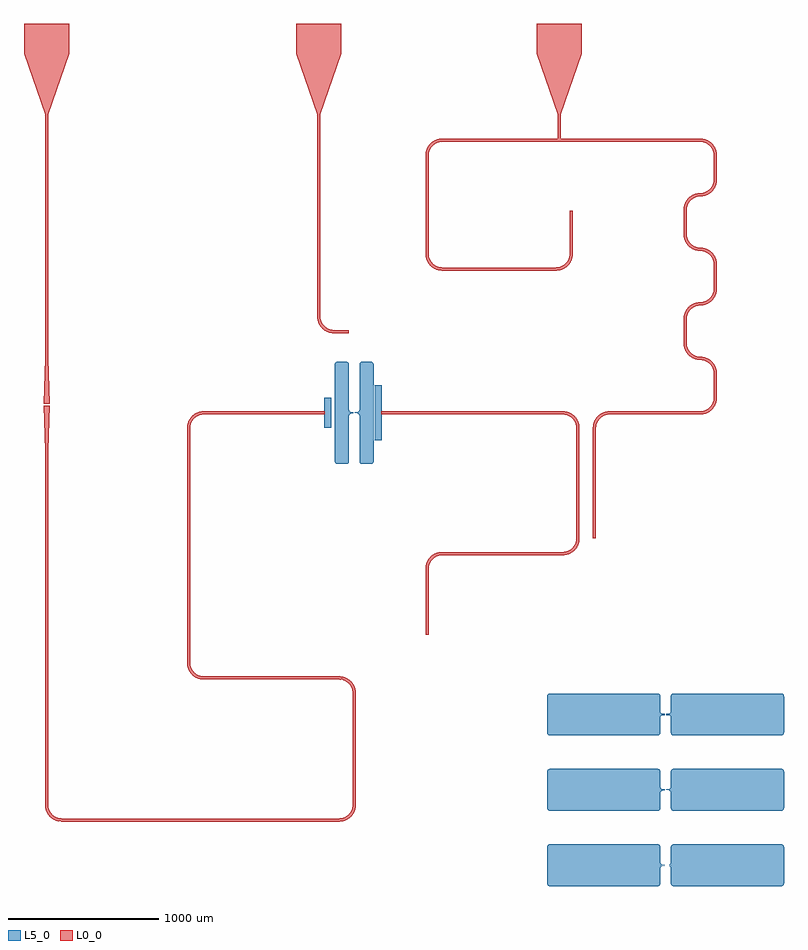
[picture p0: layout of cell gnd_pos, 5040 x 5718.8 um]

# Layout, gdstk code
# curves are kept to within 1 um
import gdstk
lib = gdstk.Library(unit=1e-6, precision=1e-09)
def R(c, l, rs):  # rectangles x0, y0, x1, y1
    for r in rs: c.add(gdstk.rectangle(r[:2], r[2:], *l))
def A(c, l, x, y, w, h, nx, ny, dx, dy):  # array of equal rectangles
    R(c, l, [(x+i*dx, y+j*dy, x+i*dx+w, y+j*dy+h) for i in range(nx) for j in range(ny)])
def P(c, l, *ps):  # polygons
    for p in ps: c.add(gdstk.Polygon(p, *l))
L0_0 = (0, 0)
L5_0 = (5, 0)

gnd_pos = lib.new_cell('gnd_pos')
A(gnd_pos, L0_0, 6119.612, 3600, 20, 161.6, 1, 3, 0, 723.2)
R(gnd_pos, L0_0, [(1795,790,3635,810), (1685,900,1705,3248.102), (3725,900,3745,1641.9), (2736.9,1731.9,3635,1751.9), (2626.9,1841.9,2646.9,3400), (4208.1,2027.239,4228.1,2051.239), (4208.1,2051.239,4228.1,2467), (4318.1,2557,5118.1,2577), (5208.1,2667,5228.1,3400), (5318.1,2667,5338.1,3400), (2736.9,3490,3539.9,3510), (3915.1,3490,5118.1,3510), (5428.1,3490,6029.612,3510), (1685,3861.102,1705,5308), (5919.612,3961.6,5939.612,4123.2), (3600,4028.8,3700,4048.8), (3490,4138.8,3510,5480), (4318.1,4444,5073.856,4464), (4208.1,4554,4228.1,5208), (5163.856,4554,5183.856,4841.105), (5919.612,4684.8,5939.612,4846.4), (4318.1,5298,5095,5318), (5095,5298,6029.612,5318), (1685,5308,1705,5480), (5085,5308,5105,5480), (1545,5880,1845,6080), (3350,5880,3650,6080), (4945,5880,5245,6080)])
P(gnd_pos, L0_0, [(3650,5880),(3350,5880),(3490,5480),(3510,5480)],
  [(3490,4138.8),(3491.971,4118.071),(3497.813,4098.085),(3508.954,4077.069),(3522.218,4061.018),(3538.269,4047.754),(3559.285,4036.613),(3579.271,4030.771),(3600,4028.8),(3600,4048.8),(3585.44,4049.986),(3571.263,4053.511),(3557.843,4059.284),(3543.614,4068.653),(3529.853,4082.414),(3519.371,4098.812),(3512.66,4117.08),(3510,4138.8)],
  [(2736.9,3510),(2716.171,3508.029),(2696.185,3502.187),(2675.169,3491.046),(2659.118,3477.782),(2645.854,3461.731),(2634.713,3440.715),(2628.871,3420.729),(2626.9,3400),(2646.9,3400),(2648.086,3414.56),(2651.611,3428.737),(2657.384,3442.157),(2666.753,3456.386),(2680.514,3470.147),(2696.912,3480.629),(2715.18,3487.34),(2736.9,3490)],
  [(2626.9,1841.9),(2628.871,1821.171),(2634.713,1801.185),(2645.854,1780.169),(2659.118,1764.118),(2675.169,1750.854),(2696.185,1739.713),(2716.171,1733.871),(2736.9,1731.9),(2736.9,1751.9),(2722.34,1753.086),(2708.163,1756.611),(2694.743,1762.384),(2680.514,1771.753),(2666.753,1785.514),(2656.271,1801.912),(2649.56,1820.18),(2646.9,1841.9)],
  [(3635,1751.9),(3655.729,1749.929),(3675.715,1744.087),(3696.731,1732.946),(3712.782,1719.682),(3726.046,1703.631),(3737.187,1682.615),(3743.029,1662.629),(3745,1641.9),(3725,1641.9),(3723.814,1656.46),(3720.289,1670.637),(3714.516,1684.057),(3705.147,1698.286),(3691.386,1712.047),(3674.988,1722.529),(3656.72,1729.24),(3635,1731.9)],
  [(3745,900),(3743.029,879.271),(3737.187,859.285),(3726.046,838.269),(3712.782,822.218),(3696.731,808.954),(3675.715,797.813),(3655.729,791.971),(3635,790),(3635,810),(3649.56,811.186),(3663.737,814.711),(3677.157,820.484),(3691.386,829.853),(3705.147,843.614),(3715.629,860.012),(3722.34,878.28),(3725,900)],
  [(1795,790),(1774.271,791.971),(1754.285,797.813),(1733.269,808.954),(1717.218,822.218),(1703.954,838.269),(1692.813,859.285),(1686.971,879.271),(1685,900),(1705,900),(1706.186,885.44),(1709.711,871.263),(1715.484,857.843),(1724.853,843.614),(1738.614,829.853),(1755.012,819.371),(1773.28,812.66),(1795,810)],
  [(1685,3248.102),(1705,3248.102),(1715,3548.102),(1675,3548.102)],
  [(1845,5880),(1545,5880),(1685,5480),(1705,5480)],
  [(1705,3861.102),(1685,3861.102),(1675,3561.102),(1715,3561.102)],
  [(5118.1,3510),(5138.829,3508.029),(5158.815,3502.187),(5179.831,3491.046),(5195.882,3477.782),(5209.146,3461.731),(5220.287,3440.715),(5226.129,3420.729),(5228.1,3400),(5208.1,3400),(5206.914,3414.56),(5203.389,3428.737),(5197.616,3442.157),(5188.247,3456.386),(5174.486,3470.147),(5158.088,3480.629),(5139.82,3487.34),(5118.1,3490)],
  [(5228.1,2667),(5226.129,2646.271),(5220.287,2626.285),(5209.146,2605.269),(5195.882,2589.218),(5179.831,2575.954),(5158.815,2564.813),(5138.829,2558.971),(5118.1,2557),(5118.1,2577),(5132.66,2578.186),(5146.837,2581.711),(5160.257,2587.484),(5174.486,2596.853),(5188.247,2610.614),(5198.729,2627.012),(5205.44,2645.28),(5208.1,2667)],
  [(4318.1,2577),(4297.371,2575.029),(4277.385,2569.187),(4256.369,2558.046),(4240.318,2544.782),(4227.054,2528.731),(4215.913,2507.715),(4210.071,2487.729),(4208.1,2467),(4228.1,2467),(4229.286,2481.56),(4232.811,2495.737),(4238.584,2509.157),(4247.953,2523.386),(4261.714,2537.147),(4278.112,2547.629),(4296.38,2554.34),(4318.1,2557)],
  [(5245,5880),(4945,5880),(5085,5480),(5105,5480)],
  [(5318.1,3400),(5320.071,3420.729),(5325.913,3440.715),(5337.054,3461.731),(5350.318,3477.782),(5366.369,3491.046),(5387.385,3502.187),(5407.371,3508.029),(5428.1,3510),(5428.1,3490),(5413.54,3488.814),(5399.363,3485.289),(5385.943,3479.516),(5371.714,3470.147),(5357.953,3456.386),(5347.471,3439.988),(5340.76,3421.72),(5338.1,3400)],
  [(6029.612,3490),(6050.341,3491.971),(6070.327,3497.813),(6091.343,3508.954),(6107.394,3522.218),(6120.658,3538.269),(6131.799,3559.285),(6137.641,3579.271),(6139.612,3600),(6119.612,3600),(6118.426,3585.44),(6114.901,3571.263),(6109.128,3557.843),(6099.759,3543.614),(6085.998,3529.853),(6069.6,3519.371),(6051.332,3512.66),(6029.612,3510)],
  [(6139.612,3761.6),(6137.641,3782.329),(6131.799,3802.315),(6120.658,3823.331),(6107.394,3839.382),(6091.343,3852.646),(6070.327,3863.787),(6050.341,3869.629),(6029.612,3871.6),(6029.612,3851.6),(6044.172,3850.414),(6058.349,3846.889),(6071.769,3841.116),(6085.998,3831.747),(6099.759,3817.986),(6110.241,3801.588),(6116.952,3783.32),(6119.612,3761.6)],
  [(6029.612,3851.6),(6008.883,3853.571),(5988.897,3859.413),(5967.881,3870.554),(5951.83,3883.818),(5938.566,3899.869),(5927.425,3920.885),(5921.583,3940.871),(5919.612,3961.6),(5939.612,3961.6),(5940.798,3947.04),(5944.323,3932.863),(5950.096,3919.443),(5959.465,3905.214),(5973.226,3891.453),(5989.624,3880.971),(6007.892,3874.26),(6029.612,3871.6)],
  [(5919.612,4123.2),(5921.583,4143.929),(5927.425,4163.915),(5938.566,4184.931),(5951.83,4200.982),(5967.881,4214.246),(5988.897,4225.387),(6008.883,4231.229),(6029.612,4233.2),(6029.612,4213.2),(6015.052,4212.014),(6000.875,4208.489),(5987.455,4202.716),(5973.226,4193.347),(5959.465,4179.586),(5947.93,4160.99),(5941.716,4142.547),(5939.612,4123.2)],
  [(6029.612,4213.2),(6050.341,4215.171),(6070.327,4221.013),(6091.343,4232.154),(6107.394,4245.418),(6120.658,4261.469),(6131.799,4282.485),(6137.641,4302.471),(6139.612,4323.2),(6119.612,4323.2),(6118.426,4308.64),(6114.901,4294.463),(6109.128,4281.043),(6099.759,4266.814),(6085.998,4253.053),(6069.6,4242.571),(6051.332,4235.86),(6029.612,4233.2)],
  [(6139.612,4484.8),(6137.641,4505.529),(6131.799,4525.515),(6120.658,4546.531),(6107.394,4562.582),(6091.343,4575.846),(6070.327,4586.987),(6050.341,4592.829),(6029.612,4594.8),(6029.612,4574.8),(6044.172,4573.614),(6058.349,4570.089),(6071.769,4564.316),(6085.998,4554.947),(6099.759,4541.186),(6110.241,4524.788),(6116.952,4506.52),(6119.612,4484.8)],
  [(6029.612,4574.8),(6008.883,4576.771),(5988.897,4582.613),(5967.881,4593.754),(5951.83,4607.018),(5938.566,4623.069),(5927.425,4644.085),(5921.583,4664.071),(5919.612,4684.8),(5939.612,4684.8),(5940.798,4670.24),(5944.323,4656.063),(5950.096,4642.643),(5959.465,4628.414),(5973.226,4614.653),(5989.624,4604.171),(6007.892,4597.46),(6029.612,4594.8)],
  [(5919.612,4846.4),(5921.583,4867.129),(5927.425,4887.115),(5938.566,4908.131),(5951.83,4924.182),(5967.881,4937.446),(5988.897,4948.587),(6008.883,4954.429),(6029.612,4956.4),(6029.612,4936.4),(6015.052,4935.214),(6000.875,4931.689),(5987.455,4925.916),(5973.226,4916.547),(5959.465,4902.786),(5947.93,4884.19),(5941.716,4865.747),(5939.612,4846.4)],
  [(6029.612,4936.4),(6050.341,4938.371),(6070.327,4944.213),(6091.343,4955.354),(6107.394,4968.618),(6120.658,4984.669),(6131.799,5005.685),(6137.641,5025.671),(6139.612,5046.4),(6119.612,5046.4),(6118.426,5031.84),(6114.901,5017.663),(6109.128,5004.243),(6099.759,4990.014),(6085.998,4976.253),(6069.6,4965.771),(6051.332,4959.06),(6029.612,4956.4)],
  [(6139.612,5208),(6137.641,5228.729),(6131.799,5248.715),(6120.658,5269.731),(6107.394,5285.782),(6091.343,5299.046),(6070.327,5310.187),(6050.341,5316.029),(6029.612,5318),(6029.612,5298),(6044.172,5296.814),(6058.349,5293.289),(6071.769,5287.516),(6085.998,5278.147),(6099.759,5264.386),(6110.241,5247.988),(6116.952,5229.72),(6119.612,5208)],
  [(4318.1,5318),(4297.371,5316.029),(4277.385,5310.187),(4256.369,5299.046),(4240.318,5285.782),(4227.054,5269.731),(4215.913,5248.715),(4210.071,5228.729),(4208.1,5208),(4228.1,5208),(4229.286,5222.56),(4232.811,5236.737),(4238.584,5250.157),(4247.953,5264.386),(4261.714,5278.147),(4278.112,5288.629),(4296.38,5295.34),(4318.1,5298)],
  [(4208.1,4554),(4210.071,4533.271),(4215.913,4513.285),(4227.054,4492.269),(4240.318,4476.218),(4256.369,4462.954),(4277.385,4451.813),(4297.371,4445.971),(4318.1,4444),(4318.1,4464),(4303.54,4465.186),(4289.363,4468.711),(4275.943,4474.484),(4261.714,4483.853),(4247.953,4497.614),(4237.471,4514.012),(4230.76,4532.28),(4228.1,4554)],
  [(5073.856,4444),(5094.585,4445.971),(5114.571,4451.813),(5135.587,4462.954),(5151.638,4476.218),(5164.902,4492.269),(5176.043,4513.285),(5181.885,4533.271),(5183.856,4554),(5163.856,4554),(5162.67,4539.44),(5159.145,4525.263),(5153.372,4511.843),(5144.003,4497.614),(5130.242,4483.853),(5113.844,4473.371),(5095.576,4466.66),(5073.856,4464)])
R(gnd_pos, L5_0, [(3871.1,3317.5,3918.1,3682.5), (3536.9,3400,3583.9,3600)])
P(gnd_pos, L5_0, [(3681.013,3161.226),(3687.887,3162.821),(3693.779,3166.704),(3697.956,3172.392),(3699.974,3180.187),(3700.17,3483.526),(3703.076,3490.298),(3708.903,3494.809),(3730,3496),(3730,3498),(3706,3498),(3706,3496.8),(3702,3496.8),(3702,3503.2),(3706,3503.2),(3706,3502),(3730,3502),(3730,3504),(3708.903,3505.191),(3702.635,3510.302),(3700.075,3517.213),(3699.083,3824.787),(3693.779,3833.296),(3684.026,3838.391),(3624.377,3838.697),(3617.592,3836.756),(3611.904,3832.579),(3608.021,3826.687),(3606.426,3819.813),(3606.503,3179.177),(3611.225,3168.173),(3621.387,3161.838)],
  [(3844.613,3161.226),(3851.487,3162.821),(3857.379,3166.704),(3861.556,3172.392),(3863.574,3180.187),(3863.497,3820.823),(3858.775,3831.827),(3848.613,3838.162),(3787.977,3838.697),(3781.192,3836.756),(3775.504,3832.579),(3771.621,3826.687),(3770.026,3819.813),(3769.83,3516.474),(3766.924,3509.702),(3761.097,3505.191),(3740,3504),(3740,3502),(3764,3502),(3764,3503.2),(3768,3503.2),(3768,3496.8),(3764,3496.8),(3764,3498),(3740,3498),(3740,3496),(3761.097,3494.809),(3767.365,3489.698),(3769.925,3482.787),(3770.917,3175.213),(3776.221,3166.704),(3785.974,3161.609)],
  [(6566.013,361.226),(6573.808,363.244),(6579.496,367.421),(6583.755,374.254),(6585,381.2),(6584.974,619.813),(6580.816,631.042),(6571.946,637.555),(6565,638.8),(5855,638.8),(5843.575,635.215),(5836.245,625.746),(5835,618.8),(5834.531,515.015),(5831.454,509.125),(5825.405,504.915),(5805,504),(5805,502),(5829,502),(5829,503.2),(5833,503.2),(5833,496.8),(5829,496.8),(5829,498),(5805,498),(5805,496),(5825.405,495.085),(5830.954,491.428),(5834.326,485.701),(5835.103,379.177),(5839.184,368.958),(5848.054,362.445),(5855,361.2)],
  [(5746.013,361.226),(5752.887,362.821),(5758.779,366.704),(5762.487,371.494),(5764.769,378.171),(5765.915,486.405),(5769.572,491.954),(5775.299,495.326),(5795,496),(5795,498),(5771,498),(5771,496.8),(5767,496.8),(5767,503.2),(5771,503.2),(5771,502),(5795,502),(5795,504),(5774.595,504.915),(5769.046,508.572),(5765.674,514.299),(5764.897,620.823),(5760.816,631.042),(5751.946,637.555),(5745,638.8),(5035,638.8),(5023.575,635.215),(5016.245,625.746),(5015,618.8),(5015.026,380.187),(5019.184,368.958),(5028.054,362.445),(5035,361.2)],
  [(6566.013,861.226),(6573.808,863.244),(6579.496,867.421),(6583.755,874.254),(6585,881.2),(6584.974,1119.813),(6580.816,1131.042),(6571.946,1137.555),(6565,1138.8),(5855,1138.8),(5843.575,1135.215),(5836.245,1125.746),(5835,1118.8),(5834.531,1015.015),(5831.454,1009.125),(5825.405,1004.915),(5805,1004),(5805,1002),(5829,1002),(5829,1003.2),(5833,1003.2),(5833,996.8),(5829,996.8),(5829,998),(5805,998),(5805,996),(5825.405,995.085),(5830.954,991.428),(5834.326,985.701),(5835.103,879.177),(5839.184,868.958),(5848.054,862.445),(5855,861.2)],
  [(5746.013,861.226),(5752.887,862.821),(5758.779,866.704),(5762.487,871.494),(5764.769,878.171),(5765.915,986.405),(5769.572,991.954),(5775.299,995.326),(5795,996),(5795,998),(5771,998),(5771,996.8),(5767,996.8),(5767,1003.2),(5771,1003.2),(5771,1002),(5795,1002),(5795,1004),(5774.595,1004.915),(5769.046,1008.572),(5765.674,1014.299),(5764.897,1120.823),(5760.816,1131.042),(5751.946,1137.555),(5745,1138.8),(5035,1138.8),(5023.575,1135.215),(5016.245,1125.746),(5015,1118.8),(5015.026,880.187),(5019.184,868.958),(5028.054,862.445),(5035,861.2)],
  [(6566.013,1361.226),(6573.808,1363.244),(6579.496,1367.421),(6583.755,1374.254),(6585,1381.2),(6584.974,1619.813),(6580.816,1631.042),(6571.946,1637.555),(6565,1638.8),(5855,1638.8),(5843.575,1635.215),(5836.245,1625.746),(5835,1618.8),(5834.531,1515.015),(5831.454,1509.125),(5825.405,1504.915),(5805,1504),(5805,1502),(5829,1502),(5829,1503.2),(5833,1503.2),(5833,1496.8),(5829,1496.8),(5829,1498),(5805,1498),(5805,1496),(5825.405,1495.085),(5830.954,1491.428),(5834.326,1485.701),(5835.103,1379.177),(5839.184,1368.958),(5848.054,1362.445),(5855,1361.2)],
  [(5746.013,1361.226),(5752.887,1362.821),(5758.779,1366.704),(5762.487,1371.494),(5764.769,1378.171),(5765.915,1486.405),(5769.572,1491.954),(5775.299,1495.326),(5795,1496),(5795,1498),(5771,1498),(5771,1496.8),(5767,1496.8),(5767,1503.2),(5771,1503.2),(5771,1502),(5795,1502),(5795,1504),(5774.595,1504.915),(5769.046,1508.572),(5765.674,1514.299),(5764.897,1620.823),(5760.816,1631.042),(5751.946,1637.555),(5745,1638.8),(5035,1638.8),(5023.575,1635.215),(5016.245,1625.746),(5015,1618.8),(5015.026,1380.187),(5019.184,1368.958),(5028.054,1362.445),(5035,1361.2)])

lib.write_gds('gnd_pos.gds')
